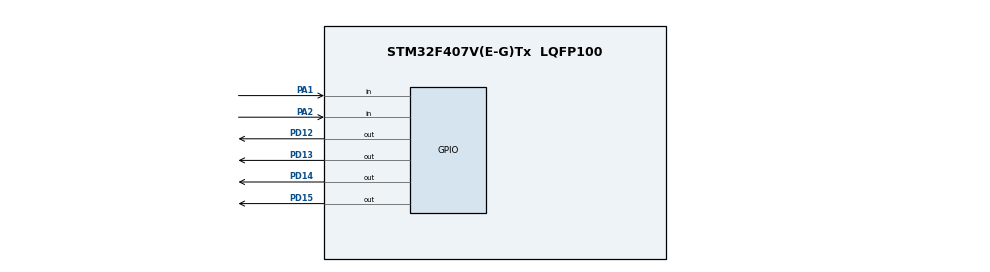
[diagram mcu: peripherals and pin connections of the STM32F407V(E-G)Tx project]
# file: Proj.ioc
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Mcu.Family=STM32F4
Mcu.Name=STM32F407V(E-G)Tx
Mcu.Package=LQFP100
NVIC.PriorityGroup=NVIC_PRIORITYGROUP_4
NVIC.TIM2_IRQn=true\:0\:0\:false\:false\:true\:true\:true
PA1.Signal=GPIO_Input
PA13.Mode=Serial_Wire
PA13.Signal=SYS_JTMS-SWDIO
PA14.Mode=Serial_Wire
PA14.Signal=SYS_JTCK-SWCLK
PA2.Signal=GPIO_Input
PD12.Signal=GPIO_Output
PD13.Signal=GPIO_Output
PD14.Signal=GPIO_Output
PD15.Signal=GPIO_Output
PH0-OSC_IN.Mode=HSE-External-Oscillator
PH0-OSC_IN.Signal=RCC_OSC_IN
PH1-OSC_OUT.Mode=HSE-External-Oscillator
PH1-OSC_OUT.Signal=RCC_OSC_OUT
ProjectManager.HeapSize=0x200
ProjectManager.StackSize=0x400
ProjectManager.TargetToolchain=TrueSTUDIO
RCC.AHBFreq_Value=16000000
RCC.APB1Freq_Value=16000000
RCC.APB2Freq_Value=16000000
RCC.CortexFreq_Value=16000000
RCC.HSE_VALUE=25000000
RCC.HSI_VALUE=16000000
RCC.LSE_VALUE=32768
RCC.SYSCLKFreq_VALUE=16000000
RCC.VCOOutputFreq_Value=192000000
TIM2.Period=3000
TIM2.Prescaler=200
TIM2.TIM_MasterOutputTrigger=TIM_TRGO_UPDATE
VP_TIM2_VS_ClockSourceINT.Mode=Internal
board=custom

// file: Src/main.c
/* USER CODE BEGIN Header */
/**
  ******************************************************************************
  * @file           : main.c
  * @brief          : Main program body
  ******************************************************************************
  * @attention
  *
  * <h2><center>&copy; Copyright (c) 2020 STMicroelectronics.
  * All rights reserved.</center></h2>
  *
  * This software component is licensed by ST under BSD 3-Clause license,
  * the "License"; You may not use this file except in compliance with the
  * License. You may obtain a copy of the License at:
  *                        opensource.org/licenses/BSD-3-Clause
  *
  ******************************************************************************
  */
/* USER CODE END Header */

#include "main.h"

/* USER CODE BEGIN PV */
#define LED1_ON() LL_GPIO_SetOutputPin(GPIOD, LL_GPIO_PIN_12)
#define LED1_OFF() LL_GPIO_ResetOutputPin(GPIOD, LL_GPIO_PIN_12)

#define LED2_ON() LL_GPIO_SetOutputPin(GPIOD, LL_GPIO_PIN_13)
#define LED2_OFF() LL_GPIO_ResetOutputPin(GPIOD, LL_GPIO_PIN_13)

#define LED3_ON() LL_GPIO_SetOutputPin(GPIOD, LL_GPIO_PIN_14)
#define LED3_OFF() LL_GPIO_ResetOutputPin(GPIOD, LL_GPIO_PIN_14)

#define LED4_ON() LL_GPIO_SetOutputPin(GPIOD, LL_GPIO_PIN_15)
#define LED4_OFF() LL_GPIO_ResetOutputPin(GPIOD, LL_GPIO_PIN_15)
/* USER CODE END PV */

void SystemClock_Config(void);
static void MX_GPIO_Init(void);
static void MX_TIM2_Init(void);

int main(void)
{
  /* USER CODE BEGIN 1 */
	LED1_ON();LED1_OFF();
	LED2_ON();LED2_OFF();
	LED3_ON();LED3_OFF();
	LED4_ON();LED4_OFF();
  /* USER CODE END 1 */

  /* MCU Configuration--------------------------------------------------------*/

  /* Reset of all peripherals, Initializes the Flash interface and the Systick. */

  LL_APB2_GRP1_EnableClock(LL_APB2_GRP1_PERIPH_SYSCFG);
  LL_APB1_GRP1_EnableClock(LL_APB1_GRP1_PERIPH_PWR);

  NVIC_SetPriorityGrouping(NVIC_PRIORITYGROUP_4);

  /* System interrupt init*/

  /* Configure the system clock */
  SystemClock_Config();

  /* Initialize all configured peripherals */
  MX_GPIO_Init();
  MX_TIM2_Init();
  /* USER CODE BEGIN 2 */
  asm("nop");
  asm("nop");
  asm("nop");
  asm("nop");
//  LL_TIM_EnableIT_UPDATE(TIM2);
  LL_TIM_EnableCounter(TIM2);
  /* USER CODE END 2 */

  /* Infinite loop */
  /* USER CODE BEGIN WHILE */
  while (1)
  {
	if (!(LL_GPIO_ReadInputPort(GPIOA)&LL_GPIO_PIN_0))
	{
		LED1_ON();
		LL_mDelay(100);
		LED1_OFF();
		LED2_ON();
		LL_mDelay(100);
		LED2_OFF();
		LED3_ON();
		LL_mDelay(100);
		LED3_OFF();
		LED4_ON();
		LL_mDelay(100);
		LED4_OFF();
	}
    /* USER CODE END WHILE */

  }
}

void SystemClock_Config(void)
{
  LL_FLASH_SetLatency(LL_FLASH_LATENCY_0);

  if(LL_FLASH_GetLatency() != LL_FLASH_LATENCY_0)
  {
  Error_Handler();
  }
  LL_PWR_SetRegulVoltageScaling(LL_PWR_REGU_VOLTAGE_SCALE1);
  LL_RCC_HSI_SetCalibTrimming(16);
  LL_RCC_HSI_Enable();

   /* Wait till HSI is ready */
  while(LL_RCC_HSI_IsReady() != 1)
  {

  }
  LL_RCC_SetAHBPrescaler(LL_RCC_SYSCLK_DIV_1);
  LL_RCC_SetAPB1Prescaler(LL_RCC_APB1_DIV_1);
  LL_RCC_SetAPB2Prescaler(LL_RCC_APB2_DIV_1);
  LL_RCC_SetSysClkSource(LL_RCC_SYS_CLKSOURCE_HSI);

   /* Wait till System clock is ready */
  while(LL_RCC_GetSysClkSource() != LL_RCC_SYS_CLKSOURCE_STATUS_HSI)
  {

  }
  LL_Init1msTick(16000000);
  LL_SYSTICK_SetClkSource(LL_SYSTICK_CLKSOURCE_HCLK);
  LL_SetSystemCoreClock(16000000);
}

static void MX_TIM2_Init(void)
{

  LL_TIM_InitTypeDef TIM_InitStruct = {0};

  /* Peripheral clock enable */
  LL_APB1_GRP1_EnableClock(LL_APB1_GRP1_PERIPH_TIM2);

  /* TIM2 interrupt Init */
  NVIC_SetPriority(TIM2_IRQn, NVIC_EncodePriority(NVIC_GetPriorityGrouping(),0, 0));
  NVIC_EnableIRQ(TIM2_IRQn);

  TIM_InitStruct.Prescaler = 200;
  TIM_InitStruct.CounterMode = LL_TIM_COUNTERMODE_UP;
  TIM_InitStruct.Autoreload = 3000;
  TIM_InitStruct.ClockDivision = LL_TIM_CLOCKDIVISION_DIV1;
  LL_TIM_Init(TIM2, &TIM_InitStruct);
  LL_TIM_DisableARRPreload(TIM2);
  LL_TIM_SetClockSource(TIM2, LL_TIM_CLOCKSOURCE_INTERNAL);
  LL_TIM_SetTriggerOutput(TIM2, LL_TIM_TRGO_UPDATE);
  LL_TIM_DisableMasterSlaveMode(TIM2);

}

static void MX_GPIO_Init(void)
{
  LL_GPIO_InitTypeDef GPIO_InitStruct = {0};

  /* GPIO Ports Clock Enable */
  LL_AHB1_GRP1_EnableClock(LL_AHB1_GRP1_PERIPH_GPIOH);
  LL_AHB1_GRP1_EnableClock(LL_AHB1_GRP1_PERIPH_GPIOA);
  LL_AHB1_GRP1_EnableClock(LL_AHB1_GRP1_PERIPH_GPIOD);

  /**/
  LL_GPIO_ResetOutputPin(GPIOD, LL_GPIO_PIN_12|LL_GPIO_PIN_13|LL_GPIO_PIN_14|LL_GPIO_PIN_15);

  /**/
  GPIO_InitStruct.Pin = LL_GPIO_PIN_1|LL_GPIO_PIN_2;
  GPIO_InitStruct.Mode = LL_GPIO_MODE_INPUT;
  GPIO_InitStruct.Pull = LL_GPIO_PULL_NO;
  LL_GPIO_Init(GPIOA, &GPIO_InitStruct);

  /**/
  GPIO_InitStruct.Pin = LL_GPIO_PIN_12|LL_GPIO_PIN_13|LL_GPIO_PIN_14|LL_GPIO_PIN_15;
  GPIO_InitStruct.Mode = LL_GPIO_MODE_OUTPUT;
  GPIO_InitStruct.Speed = LL_GPIO_SPEED_FREQ_LOW;
  GPIO_InitStruct.OutputType = LL_GPIO_OUTPUT_PUSHPULL;
  GPIO_InitStruct.Pull = LL_GPIO_PULL_NO;
  LL_GPIO_Init(GPIOD, &GPIO_InitStruct);

}

void Error_Handler(void)
{
}

/************************ (C) COPYRIGHT STMicroelectronics *****END OF FILE****/
